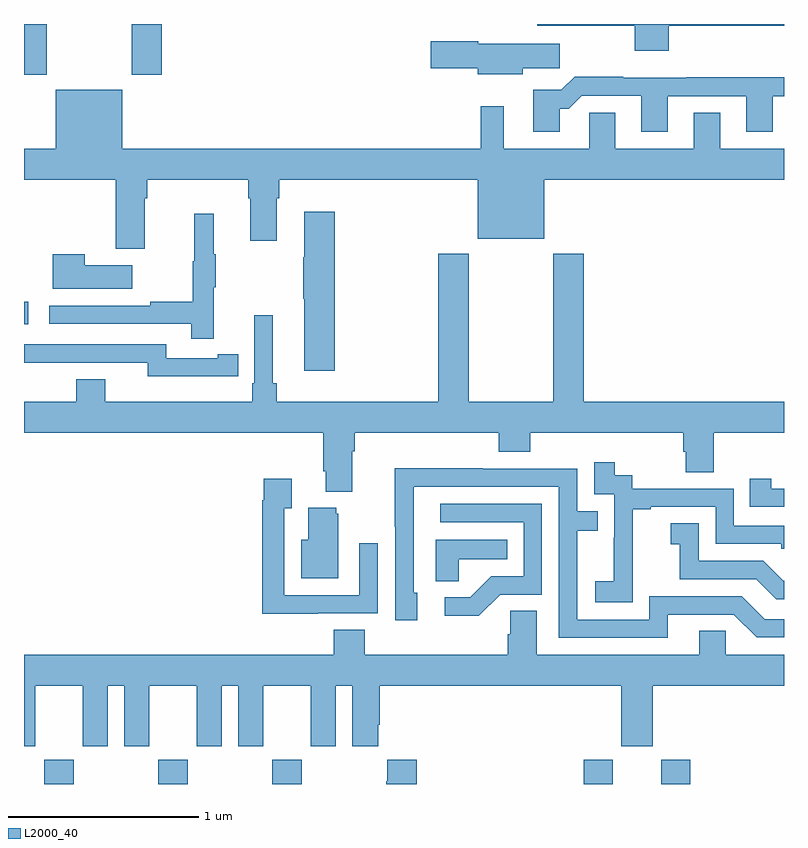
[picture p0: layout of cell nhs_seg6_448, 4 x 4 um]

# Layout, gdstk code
import gdstk
lib = gdstk.Library(unit=1e-6, precision=1e-09)
def R(c, l, rs):  # rectangles x0, y0, x1, y1
    for r in rs: c.add(gdstk.rectangle(r[:2], r[2:], *l))
def A(c, l, x, y, w, h, nx, ny, dx, dy):  # array of equal rectangles
    R(c, l, [(x+i*dx, y+j*dy, x+i*dx+w, y+j*dy+h) for i in range(nx) for j in range(ny)])
def P(c, l, *ps):  # polygons
    for p in ps: c.add(gdstk.Polygon(p, *l))
L2000_40 = (2000, 40)

nhs_seg6_448 = lib.new_cell('nhs_seg6_448')
A(nhs_seg6_448, L2000_40, 137.107, 933.5, 0.155, 0.128, 3, 1, 0.6, 0)
R(nhs_seg6_448, L2000_40, [(139.946,933.5,140.098,933.627), (140.354,933.5,140.507,933.627), (137,935.919,137.023,936.039), (137,937.233,137.121,937.5), (137.566,937.233,137.726,937.5)])
P(nhs_seg6_448, L2000_40, [(140.393,937.49),(141,937.49),(141,937.5),(139.7,937.5),(139.7,937.49),(140.215,937.49),(140.215,937.359),(140.393,937.359)],
  [(139.624,937.267),(139.819,937.267),(139.819,937.396),(139.392,937.396),(139.392,937.409),(139.14,937.409),(139.14,937.267),(139.388,937.267),(139.388,937.235),(139.624,937.235)],
  [(139.819,937.055),(139.868,937.055),(139.935,937.122),(140.249,937.122),(140.249,936.933),(140.389,936.933),(140.389,937.119),(140.801,937.119),(140.801,936.933),(140.941,936.933),(140.941,937.119),(141,937.119),(141,937.22),(140.485,937.22),(140.485,937.216),(140.153,937.216),(140.153,937.223),(139.898,937.223),(139.828,937.153),(139.679,937.153),(139.679,936.933),(139.819,936.933)],
  [(137.635,936.584),(137.648,936.584),(137.648,936.68),(138.179,936.68),(138.179,936.584),(138.191,936.584),(138.191,936.36),(138.331,936.36),(138.331,936.584),(138.344,936.584),(138.344,936.68),(139.388,936.68),(139.388,936.371),(139.738,936.371),(139.738,936.68),(141,936.68),(141,936.844),(140.665,936.844),(140.665,937.034),(140.525,937.034),(140.525,936.844),(140.113,936.844),(140.113,937.034),(139.974,937.034),(139.974,936.844),(139.525,936.844),(139.525,937.066),(139.404,937.066),(139.404,936.844),(137.518,936.844),(137.518,937.153),(137.168,937.153),(137.168,936.844),(137,936.844),(137,936.68),(137.483,936.68),(137.483,936.318),(137.635,936.318)],
  [(138.635,936.511),(138.476,936.511),(138.476,936.272),(138.469,936.272),(138.469,936.055),(138.476,936.055),(138.476,935.676),(138.635,935.676)],
  [(137.999,936.115),(138.01,936.115),(138.01,936.289),(137.999,936.289),(137.999,936.502),(137.896,936.502),(137.896,936.252),(137.889,936.252),(137.889,936.038),(137.665,936.038),(137.665,936.018),(137.133,936.018),(137.133,935.922),(137.881,935.922),(137.881,935.844),(137.999,935.844)],
  [(138.727,935.252),(138.74,935.252),(138.74,935.348),(139.499,935.348),(139.499,935.249),(139.664,935.249),(139.664,935.348),(140.471,935.348),(140.471,935.25),(140.483,935.25),(140.483,935.14),(140.631,935.14),(140.631,935.348),(141,935.348),(141,935.512),(139.946,935.512),(139.946,936.292),(139.786,936.292),(139.786,935.512),(139.341,935.512),(139.341,936.292),(139.181,936.292),(139.181,935.512),(138.329,935.512),(138.329,935.608),(138.31,935.608),(138.31,935.968),(138.213,935.968),(138.213,935.608),(138.2,935.608),(138.2,935.512),(137.428,935.512),(137.428,935.629),(137.276,935.629),(137.276,935.512),(137,935.512),(137,935.348),(138.575,935.348),(138.575,935.146),(138.587,935.146),(138.587,935.039),(138.727,935.039)],
  [(137.569,936.229),(137.321,936.229),(137.321,936.289),(137.15,936.289),(137.15,936.107),(137.569,936.107)],
  [(138.02,935.646),(138.128,935.646),(138.128,935.762),(138.02,935.762),(138.02,935.742),(137.748,935.742),(137.748,935.814),(137,935.814),(137,935.717),(137.192,935.717),(137.192,935.718),(137.652,935.718),(137.652,935.645),(138.02,935.645)],
  [(140.205,934.663),(140.204,934.663),(140.204,934.947),(140.299,934.947),(140.299,934.959),(140.64,934.959),(140.64,934.764),(140.985,934.764),(140.985,934.737),(141,934.737),(141,934.86),(140.736,934.86),(140.736,935.055),(140.202,935.055),(140.202,935.124),(140.11,935.124),(140.11,935.194),(140.001,935.194),(140.001,935.025),(140.106,935.025),(140.106,934.796),(140.105,934.796),(140.105,934.567),(140.007,934.567),(140.007,934.457),(140.205,934.457)],
  [(140.389,934.392),(140.736,934.392),(140.856,934.272),(141,934.272),(141,934.368),(140.898,934.368),(140.778,934.488),(140.292,934.488),(140.292,934.365),(139.911,934.365),(139.911,934.834),(140.021,934.834),(140.021,934.935),(139.911,934.935),(139.911,935.16),(139.415,935.16),(139.415,935.162),(138.952,935.162),(138.952,934.855),(138.954,934.855),(138.954,934.362),(139.069,934.362),(139.069,934.506),(139.05,934.506),(139.05,935.064),(139.815,935.064),(139.815,934.269),(140.389,934.269)],
  [(138.545,934.398),(138.861,934.398),(138.861,934.768),(138.765,934.768),(138.765,934.494),(138.369,934.494),(138.369,934.951),(138.409,934.951),(138.409,935.107),(138.261,935.107),(138.261,934.994),(138.253,934.994),(138.253,934.397),(138.545,934.397)],
  [(141,935.055),(140.932,935.055),(140.932,935.107),(140.821,935.107),(140.821,934.959),(141,934.959)],
  [(139.506,934.497),(139.725,934.497),(139.725,934.974),(139.191,934.974),(139.191,934.878),(139.629,934.878),(139.629,934.593),(139.46,934.593),(139.349,934.482),(139.215,934.482),(139.215,934.385),(139.393,934.385)],
  [(138.655,934.923),(138.644,934.923),(138.644,934.954),(138.497,934.954),(138.497,934.786),(138.458,934.786),(138.458,934.583),(138.655,934.583)],
  [(141,934.57),(140.996,934.57),(140.892,934.674),(140.55,934.674),(140.55,934.873),(140.403,934.873),(140.403,934.763),(140.452,934.763),(140.452,934.578),(140.855,934.578),(140.96,934.473),(141,934.473)],
  [(139.287,934.682),(139.544,934.682),(139.544,934.786),(139.166,934.786),(139.166,934.567),(139.287,934.567)],
  [(137.059,934.016),(137.309,934.016),(137.309,933.699),(137.44,933.699),(137.44,934.016),(137.528,934.016),(137.528,933.699),(137.659,933.699),(137.659,934.016),(137.909,934.016),(137.909,933.699),(138.04,933.699),(138.04,934.016),(138.128,934.016),(138.128,933.699),(138.259,933.699),(138.259,934.016),(138.509,934.016),(138.509,933.699),(138.64,933.699),(138.64,934.016),(138.728,934.016),(138.728,933.699),(138.865,933.699),(138.865,933.811),(138.872,933.811),(138.872,934.016),(140.144,934.016),(140.144,933.699),(140.308,933.699),(140.308,934.016),(141,934.016),(141,934.18),(140.694,934.18),(140.694,934.307),(140.555,934.307),(140.555,934.18),(139.699,934.18),(139.699,934.412),(139.56,934.412),(139.56,934.289),(139.547,934.289),(139.547,934.18),(138.794,934.18),(138.794,934.313),(138.629,934.313),(138.629,934.18),(137,934.18),(137,933.699),(137.059,933.699)],
  [(139.067,933.628),(138.911,933.628),(138.911,933.515),(138.907,933.515),(138.907,933.5),(139.067,933.5)])

lib.write_gds('nhs_seg6_448.gds')
